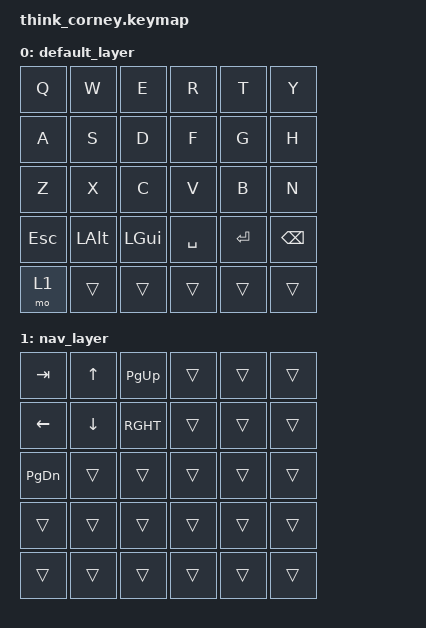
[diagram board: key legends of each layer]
#include <behaviors.dtsi>
#include <dt-bindings/zmk/keys.h>

 / {
   keymap {
     compatible = "zmk,keymap";

     default_layer {
       bindings = <
         &kp Q    &kp W    &kp E    &kp R    &kp T    &kp Y
         &kp A    &kp S    &kp D    &kp F    &kp G    &kp H
         &kp Z    &kp X    &kp C    &kp V    &kp B    &kp N
         &kp ESC  &kp LALT &kp LGUI &kp SPACE &kp ENTER &kp BSPC
         &mo 1    &trans   &trans   &trans    &trans   &trans
       >;
     };

     nav_layer {
       bindings = <
         &kp TAB  &kp UP   &kp PG_UP &trans &trans &trans
         &kp LEFT &kp DOWN &kp RGHT  &trans &trans &trans
         &kp PG_DN &trans  &trans    &trans &trans &trans
         &trans   &trans   &trans    &trans &trans &trans
         &trans   &trans   &trans    &trans &trans &trans
       >;
     };
   };
 };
